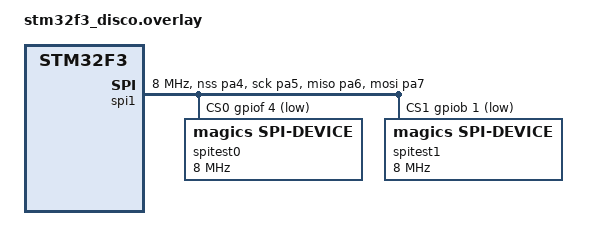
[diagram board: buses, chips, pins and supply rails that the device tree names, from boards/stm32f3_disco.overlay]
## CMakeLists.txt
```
cmake_minimum_required(VERSION 3.13.0)

set(BOARD stm32f3_disco)
find_package(Zephyr REQUIRED HINTS $ENV{ZEPHYR_BASE})
project(app_spi_peripheral)

FILE(GLOB app_sources src/*.c)
target_sources(app PRIVATE ${app_sources})
```

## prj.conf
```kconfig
# Copyright (c) 2021 Nordic Semiconductor ASA
# SPDX-License-Identifier: Apache-2.0
#
# This file contains selected Kconfig options for the application.
CONFIG_BOOT_BANNER=y
CONFIG_GPIO=y
CONFIG_ADC=y

CONFIG_SPI=y
CONFIG_SPI_STM32=y
CONFIG_SPI_ASYNC=y
```

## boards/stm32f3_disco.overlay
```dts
&spi1 {
	compatible = "st,stm32-spi";
	status = "okay";
	pinctrl-0 = <&spi1_nss_pa4 &spi1_sck_pa5
			&spi1_miso_pa6 &spi1_mosi_pa7>;
	pinctrl-names = "default";
	cs-gpios = <&gpiof 4 (GPIO_ACTIVE_LOW | GPIO_PULL_UP)>, 
				<&gpiob 1 (GPIO_ACTIVE_LOW | GPIO_PULL_UP)>;
	clock-frequency = <8000000>;

	spitest0: spideva@0 {
		compatible = "magics,spi-device";
		status = "okay";
		reg = <0>;
		spi-max-frequency = <8000000>;
	};

	spitest1: spidevb@1 {
		compatible = "magics,spi-device";
		status = "okay";
		reg = <1>;
		spi-max-frequency = <8000000>;
   };
};
```

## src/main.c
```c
#include <stdio.h>
#include <stdlib.h>
#include <zephyr/kernel.h>
#include <zephyr/drivers/spi.h>
#include <zephyr/device.h>
#include <zephyr/drivers/gpio.h>

#define SPI_DEV_NODE DT_NODELABEL(spi1)
#define SPI_CS0 DT_NODELABEL(spitest0)
#define SPI_CS1 DT_NODELABEL(spitest1)

struct device *const spi_dev = DEVICE_DT_GET(SPI_DEV_NODE);

const struct spi_config spi_dev_cfg0 = {
	.operation = SPI_OP_MODE_MASTER | SPI_WORD_SET(8) |
				 SPI_TRANSFER_MSB,
	.frequency = 8000000,
	.cs = {
        .gpio = SPI_CS_GPIOS_DT_SPEC_GET(SPI_CS0),
        .delay = 0,
	},
};

const struct spi_config spi_dev_cfg1 = {
	.operation = SPI_OP_MODE_MASTER | SPI_WORD_SET(8) |
				 SPI_TRANSFER_MSB,
	.frequency = 8000000,
	.cs = {
        .gpio = SPI_CS_GPIOS_DT_SPEC_GET(SPI_CS1),
        .delay = 0,
	},
};

int main() {

    struct spi_buf bufs[] = {
            {
                    .buf = (uint8_t *)"Hello, Zephyr",
                    .len = 13
            },
    };

    struct spi_buf_set tx = {
            .buffers =  bufs,
            .count = 1
    };
    // const struct spi_dt_spec spidev_dev = SPI_DT_SPEC_GET(DT_NODELABEL(spidev), SPI_OP, 0);

    while (true) {
        printf("Writing to SPI0...\n");
        spi_write(spi_dev, &spi_dev_cfg0, &tx);

        printf("Writing to SPI1...\n");
        spi_write(spi_dev, &spi_dev_cfg1, &tx);

        k_sleep(K_MSEC(250));
    }

    return 0;
}
```
